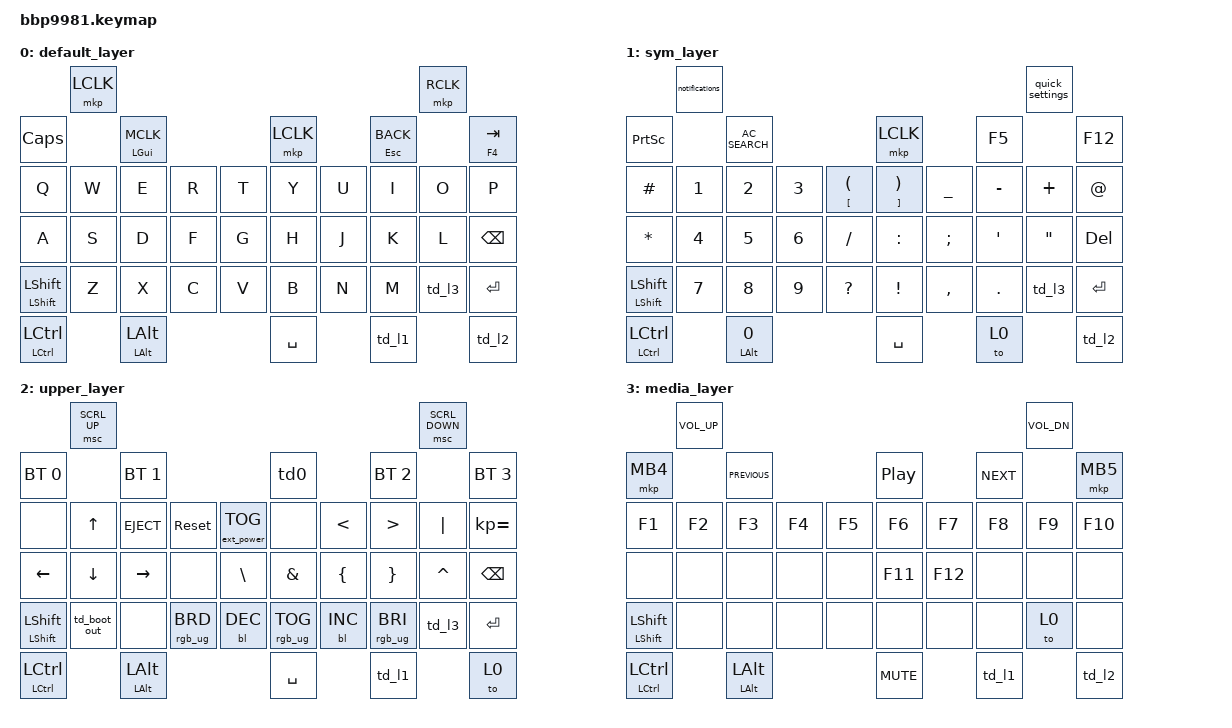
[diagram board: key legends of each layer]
/*
 * Copyright (c) 2025 ZitaoTech
 *
 * SPDX-License-Identifier: MIT
 */

#include <behaviors.dtsi>
#include <dt-bindings/zmk/keys.h>
#include <dt-bindings/zmk/bt.h>
#include <dt-bindings/zmk/outputs.h>
#include <dt-bindings/zmk/mouse.h>
#include <dt-bindings/zmk/backlight.h>
#include <dt-bindings/zmk/ext_power.h>
#include <dt-bindings/zmk/rgb.h>
#include <dt-bindings/zmk/pointing.h>

#define DEFAULT 0
#define SYM 1
#define UPPER 2
#define MEDIA 3

#define SL_MO(layer) &sl_mo layer layer //tap -> sticky layer, hold -> momentary layer

&sl {
    release-after-ms = <3000>;
    };

/ {
    behaviors {
        td0: tap_dance_0 {
            compatible = "zmk,behavior-tap-dance";
            #binding-cells = <0>;
            tapping-term-ms = <400>;
            bindings = <&mkp LCLK>, <&bt BT_CLR>;
        };

        td_boot_out: td_boot_out {
            compatible = "zmk,behavior-tap-dance";
            #binding-cells = <0>;
            tapping-term-ms = <400>;
            bindings = <&bootloader>, <&out OUT_TOG>;
        };

        tdc_to_SYM: td_comma_to_layer {
            compatible = "zmk,behavior-tap-dance";
            #binding-cells = <0>;
            tapping-term-ms = <400>;
            bindings = <&kp SEMI>, <&to SYM>;
        };

        tdc_to_MEDIA: td_mute_to_layer {
            compatible = "zmk,behavior-tap-dance";
            #binding-cells = <0>;
            tapping-term-ms = <400>;
            bindings = <&kp C_MUTE>, <&to MEDIA>;
        };

        hm: homerow_mods {
            compatible = "zmk,behavior-hold-tap";
            #binding-cells = <2>;
            tapping-term-ms = <400>;
            bindings = <&kp &kp>;
        };

        sl_mo: behavior_sl_mo {
            compatible = "zmk,behavior-hold-tap";
            #binding-cells = <2>;
            flavor = "hold-preferred";      /* 单击优先 */
            tapping-term-ms = <450>;       /* 长按阈值 */
            bindings = <&mo &sl>;          /* hold=MO, tap=SL */
        };

        sk_kp: behavior_sk_kp {
            compatible = "zmk,behavior-hold-tap";
            #binding-cells = <2>;
            flavor = "hold-preferred";
            tapping-term-ms = <450>;
            bindings = <&kp &sk>;          /* hold=kp, tap=sticky key */
        };

        td_l1: tap_dance_layer1 {
            compatible = "zmk,behavior-tap-dance";
            #binding-cells = <0>;
            tapping-term-ms = <200>;
            bindings = <&sl_mo 1 1>, <&to 1>;
        };

        td_l2: tap_dance_layer2 {
            compatible = "zmk,behavior-tap-dance";
            #binding-cells = <0>;
            tapping-term-ms = <200>;
            bindings = <&sl_mo 2 2>, <&to 2>;
        };

        td_l3: tap_dance_layer3 {
            compatible = "zmk,behavior-tap-dance";
            #binding-cells = <0>;
            tapping-term-ms = <200>;
            bindings = <&sl_mo 3 3>, <&to 3>;
        };

        mkp_kp: behavior_mkp_kp {
            compatible = "zmk,behavior-hold-tap";
            #binding-cells = <2>;
            flavor = "hold-preferred";
            tapping-term-ms = <300>;
            bindings = <&kp &mkp>;          /* hold=kp, tap=mouse key press */
        };
    };

    macros {
        quick_settings: quick_settings_open {
            compatible = "zmk,behavior-macro";
            #binding-cells = <0>;
            bindings
                = <&mmv MOVE_X(200000) &mmv MOVE_Y(-200000)>
                , <&macro_press &mkp LCLK>
                , <&macro_tap &mmv MOVE_Y(200000)>
                , <&macro_release &mkp LCLK>
                ;
        };

        notifications: notifications_open {
            compatible = "zmk,behavior-macro";
            #binding-cells = <0>;
            bindings
                = <&mmv MOVE_X(-200000) &mmv MOVE_Y(-200000)>
                , <&macro_press &mkp LCLK>
                , <&macro_tap &mmv MOVE_Y(200000)>
                , <&macro_release &mkp LCLK>
                ;
        };
    };

    keymap {
        compatible = "zmk,keymap";

        default_layer {

            bindings = <
//         --------------------------------------------------------------------------------------------------------------------------
//         |    Shoulder Key1    |                                                                             |    Shoulder Key2    |
// |         Call key      |      Blackberry Key        |    Trackpad    |             Back Key                |             Endcall Key          |
// |     Q      |     W    |     E    |     R    |      T      |       Y        |       U        |        I        |       O      |      P        |
// |     A      |     S    |     D    |     F    |      G      |       H        |       J        |        K        |       L      |      ←        |
// |     alt    |     Z    |     X    |     C    |      V      |       B        |       N        |        M        |       $      |    Enter      |
//        |         aA     |         0           |           SPACE              |         SYM         |        aA          |
//        -----------------------------------------------------------------------------------------------------------------

                         &mkp LCLK                                                                                                                                          &mkp RCLK
    &kp CLCK                                  &mkp_kp LGUI MCLK                                      &mkp LCLK                                         &mt ESC K_BACK                            &mt F4 TAB
    &kp Q                &kp W                &kp E                &kp R                &kp T                &kp Y                &kp U                &kp I                &kp O                &kp P
    &kp A                &kp S                &kp D                &kp F                &kp G                &kp H                &kp J                &kp K                &kp L                &kp BSPC
    &sk_kp LSHFT LSHFT   &kp Z                &kp X                &kp C                &kp V                &kp B                &kp N                &kp M                &td_l3               &kp ENTER
    &sk_kp LCTRL LCTRL                        &sk_kp LALT LALT                                       &kp SPACE                                         &td_l1                                    &td_l2
            >;
        };


        sym_layer {

            bindings = <
                         &notifications                                                                                                                                     &quick_settings
    &kp PSCRN                                 &kp C_AC_SEARCH                                        &mkp LCLK                                         &kp F5                                    &kp F12
    &kp HASH             &kp N1               &kp N2               &kp N3               &mt LBKT LPAR        &mt RBKT RPAR        &kp UNDER            &kp MINUS            &kp PLUS             &kp AT
    &kp STAR             &kp N4               &kp N5               &kp N6               &kp SLASH            &kp COLON            &kp SEMI             &kp APOS             &kp DQT              &kp DEL
    &sk_kp LSHFT LSHFT   &kp N7               &kp N8               &kp N9               &kp QMARK            &kp EXCL             &kp COMMA            &kp DOT              &td_l3               &kp ENTER
    &sk_kp LCTRL LCTRL                        &mt LALT N0                                            &kp SPACE                                         &to 0                                     &td_l2
            >;
        };

        upper_layer {

            bindings = <
                         &msc SCRL_UP                                                                                                                                       &msc SCRL_DOWN
    &bt BT_SEL 0                              &bt BT_SEL 1                                           &td0                                              &bt BT_SEL 2                              &bt BT_SEL 3
    &none                &kp UP               &kp C_EJECT          &sys_reset           &ext_power EP_TOG    &none                &kp LT               &kp GT               &kp PIPE             &kp KP_EQUAL
    &kp LEFT             &kp DOWN             &kp RIGHT            &none                &kp BSLH             &kp AMPS             &kp LBRC             &kp RBRC             &kp CARET            &kp BSPC
    &sk_kp LSHFT LSHFT   &td_boot_out         &none                &rgb_ug RGB_BRD      &bl BL_DEC           &rgb_ug RGB_TOG      &bl BL_INC           &rgb_ug RGB_BRI      &td_l3               &kp ENTER
    &sk_kp LCTRL LCTRL                        &sk_kp LALT LALT                                       &kp  SPACE                                        &td_l1                                    &to 0
            >;
        };

        media_layer {

            bindings = <
                         &kp C_VOL_UP                                                                                                                                       &kp C_VOL_DN
    &mkp MB4                                  &kp C_PREVIOUS                                         &kp C_PLAY_PAUSE                                  &kp C_NEXT                                &mkp MB5
    &kp F1               &kp F2               &kp F3               &kp F4               &kp F5               &kp F6               &kp F7               &kp F8               &kp F9               &kp F10
    &none                &none                &none                &none                &none                &kp F11              &kp F12              &none                &none                &none
    &sk_kp LSHFT LSHFT   &none                &none                &none                &none                &none                &none                &none                &to 0                &none
    &sk_kp LCTRL LCTRL                        &sk_kp LALT LALT                                       &kp C_MUTE                                        &td_l1                                    &td_l2
            >;
        };
    };
};








